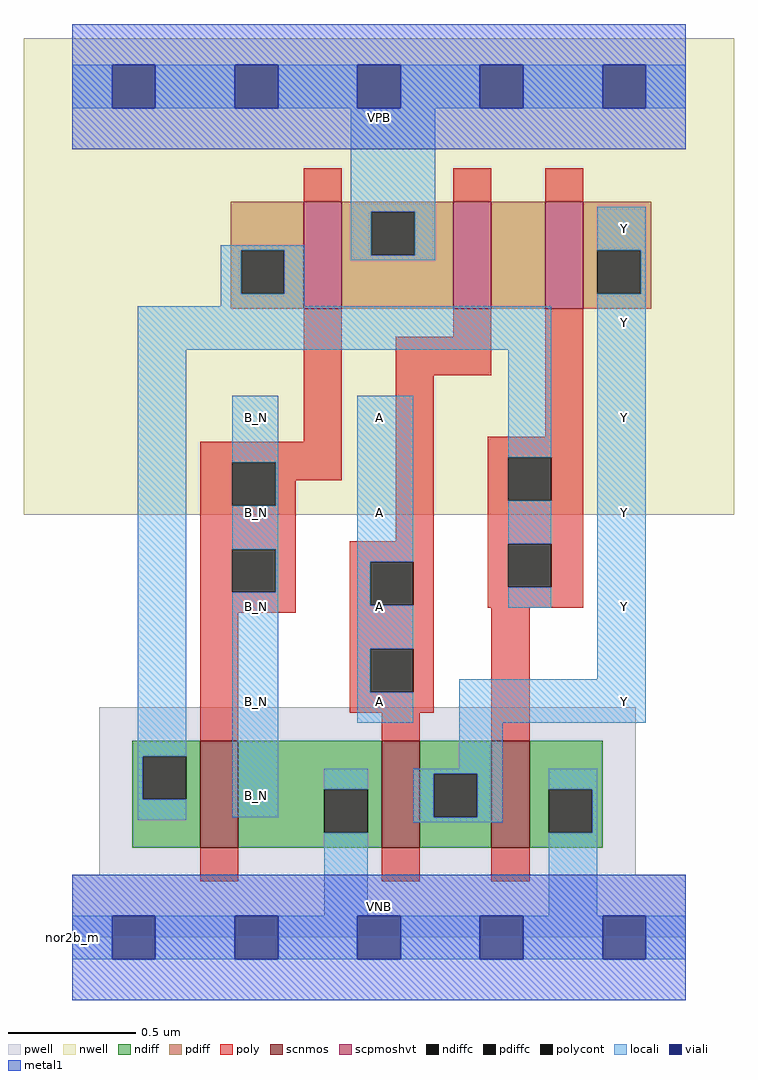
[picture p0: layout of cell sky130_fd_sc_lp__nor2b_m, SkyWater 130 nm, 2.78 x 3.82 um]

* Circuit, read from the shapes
.subckt sky130_fd_sc_lp__nor2b_m A B_N VGND VNB VPB VPWR Y
XM1 VGND B_N n1 VNB sky130_fd_pr__nfet_01v8 w=0.42 l=0.15
XM2 Y A VGND VNB sky130_fd_pr__nfet_01v8 w=0.42 l=0.15
XM3 VGND n1 Y VNB sky130_fd_pr__nfet_01v8 w=0.42 l=0.15
XM4 VPWR B_N n1 VPB sky130_fd_pr__pfet_01v8_hvt w=0.42 l=0.15
XM5 n2 A VPWR VPB sky130_fd_pr__pfet_01v8_hvt w=0.42 l=0.15
XM6 Y n1 n2 VPB sky130_fd_pr__pfet_01v8_hvt w=0.42 l=0.15
.ends

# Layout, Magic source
magic
tech sky130A
magscale 1 2
<< nwell >>
rect -38 331 518 704
<< pwell >>
rect 21 49 441 180
rect 0 0 480 49
<< scnmos >>
rect 100 70 130 154
rect 242 70 272 154
rect 328 70 358 154
<< scpmoshvt >>
rect 181 492 211 576
rect 298 492 328 576
rect 370 492 400 576
<< ndiff >>
rect 47 142 100 154
rect 47 108 55 142
rect 89 108 100 142
rect 47 70 100 108
rect 130 116 242 154
rect 130 82 197 116
rect 231 82 242 116
rect 130 70 242 82
rect 272 128 328 154
rect 272 94 283 128
rect 317 94 328 128
rect 272 70 328 94
rect 358 116 415 154
rect 358 82 373 116
rect 407 82 415 116
rect 358 70 415 82
<< pdiff >>
rect 124 538 181 576
rect 124 504 132 538
rect 166 504 181 538
rect 124 492 181 504
rect 211 568 298 576
rect 211 534 234 568
rect 268 534 298 568
rect 211 492 298 534
rect 328 492 370 576
rect 400 538 453 576
rect 400 504 411 538
rect 445 504 453 538
rect 400 492 453 504
<< ndiffc >>
rect 55 108 89 142
rect 197 82 231 116
rect 283 94 317 128
rect 373 82 407 116
<< pdiffc >>
rect 132 504 166 538
rect 234 534 268 568
rect 411 504 445 538
<< poly >>
rect 181 576 211 602
rect 298 576 328 602
rect 370 576 400 602
rect 181 388 211 492
rect 298 470 328 492
rect 100 372 211 388
rect 100 338 125 372
rect 159 358 211 372
rect 253 440 328 470
rect 159 338 175 358
rect 100 304 175 338
rect 253 310 283 440
rect 370 392 400 492
rect 100 270 125 304
rect 159 270 175 304
rect 100 254 175 270
rect 217 294 283 310
rect 217 260 233 294
rect 267 260 283 294
rect 100 154 130 254
rect 217 226 283 260
rect 325 376 400 392
rect 325 342 341 376
rect 375 342 400 376
rect 325 308 400 342
rect 325 274 341 308
rect 375 274 400 308
rect 325 258 400 274
rect 217 192 233 226
rect 267 192 283 226
rect 217 176 283 192
rect 242 154 272 176
rect 328 154 358 258
rect 100 44 130 70
rect 242 44 272 70
rect 328 44 358 70
<< polycont >>
rect 125 338 159 372
rect 125 270 159 304
rect 233 260 267 294
rect 341 342 375 376
rect 341 274 375 308
rect 233 192 267 226
<< locali >>
rect 0 649 31 683
rect 65 649 127 683
rect 161 649 223 683
rect 257 649 319 683
rect 353 649 415 683
rect 449 649 480 683
rect 218 568 284 649
rect 116 538 182 542
rect 116 504 132 538
rect 166 504 182 538
rect 218 534 234 568
rect 268 534 284 568
rect 218 530 284 534
rect 411 538 449 572
rect 116 494 182 504
rect 445 504 449 538
rect 51 460 375 494
rect 51 142 89 460
rect 51 108 55 142
rect 51 92 89 108
rect 125 372 161 424
rect 159 338 161 372
rect 125 304 161 338
rect 159 270 161 304
rect 125 94 161 270
rect 223 294 267 424
rect 223 260 233 294
rect 223 226 267 260
rect 341 376 375 460
rect 341 308 375 342
rect 341 258 375 274
rect 223 192 233 226
rect 411 202 449 504
rect 223 168 267 192
rect 303 168 449 202
rect 303 132 337 168
rect 197 116 231 132
rect 267 128 337 132
rect 267 94 283 128
rect 317 94 337 128
rect 267 90 337 94
rect 373 116 411 132
rect 197 17 231 82
rect 407 82 411 116
rect 373 17 411 82
rect 0 -17 31 17
rect 65 -17 127 17
rect 161 -17 223 17
rect 257 -17 319 17
rect 353 -17 415 17
rect 449 -17 480 17
<< viali >>
rect 31 649 65 683
rect 127 649 161 683
rect 223 649 257 683
rect 319 649 353 683
rect 415 649 449 683
rect 31 -17 65 17
rect 127 -17 161 17
rect 223 -17 257 17
rect 319 -17 353 17
rect 415 -17 449 17
<< metal1 >>
rect 0 683 480 715
rect 0 649 31 683
rect 65 649 127 683
rect 161 649 223 683
rect 257 649 319 683
rect 353 649 415 683
rect 449 649 480 683
rect 0 617 480 649
rect 0 17 480 49
rect 0 -17 31 17
rect 65 -17 127 17
rect 161 -17 223 17
rect 257 -17 319 17
rect 353 -17 415 17
rect 449 -17 480 17
rect 0 -49 480 -17
<< labels >>
flabel pwell s 0 0 480 49 0 FreeSans 200 0 0 0 VNB
port 4 nsew ground bidirectional
flabel nwell s 0 617 480 666 0 FreeSans 200 0 0 0 VPB
port 5 nsew power bidirectional
rlabel comment s 0 0 0 0 4 nor2b_m
flabel metal1 s 0 617 480 666 0 FreeSans 340 0 0 0 VPWR
port 6 nsew power bidirectional
flabel metal1 s 0 0 480 49 0 FreeSans 340 0 0 0 VGND
port 3 nsew ground bidirectional
flabel locali s 223 168 257 202 0 FreeSans 340 0 0 0 A
port 1 nsew signal input
flabel locali s 223 242 257 276 0 FreeSans 340 0 0 0 A
port 1 nsew signal input
flabel locali s 223 316 257 350 0 FreeSans 340 0 0 0 A
port 1 nsew signal input
flabel locali s 223 390 257 424 0 FreeSans 340 0 0 0 A
port 1 nsew signal input
flabel locali s 127 94 161 128 0 FreeSans 340 0 0 0 B_N
port 2 nsew signal input
flabel locali s 127 168 161 202 0 FreeSans 340 0 0 0 B_N
port 2 nsew signal input
flabel locali s 127 242 161 276 0 FreeSans 340 0 0 0 B_N
port 2 nsew signal input
flabel locali s 127 316 161 350 0 FreeSans 340 0 0 0 B_N
port 2 nsew signal input
flabel locali s 127 390 161 424 0 FreeSans 340 0 0 0 B_N
port 2 nsew signal input
flabel locali s 415 168 449 202 0 FreeSans 340 0 0 0 Y
port 7 nsew signal output
flabel locali s 415 242 449 276 0 FreeSans 340 0 0 0 Y
port 7 nsew signal output
flabel locali s 415 316 449 350 0 FreeSans 340 0 0 0 Y
port 7 nsew signal output
flabel locali s 415 390 449 424 0 FreeSans 340 0 0 0 Y
port 7 nsew signal output
flabel locali s 415 464 449 498 0 FreeSans 340 0 0 0 Y
port 7 nsew signal output
flabel locali s 415 538 449 572 0 FreeSans 340 0 0 0 Y
port 7 nsew signal output
<< properties >>
string LEFsite unit
string LEFclass CORE
string FIXED_BBOX 0 0 480 666
string GDS_FILE $PDKPATH/libs.ref/sky130_fd_sc_lp/gds/sky130_fd_sc_lp.gds
string LEFsymmetry X Y R90
string GDS_END 5277840
string GDS_START 5272054
<< end >>
